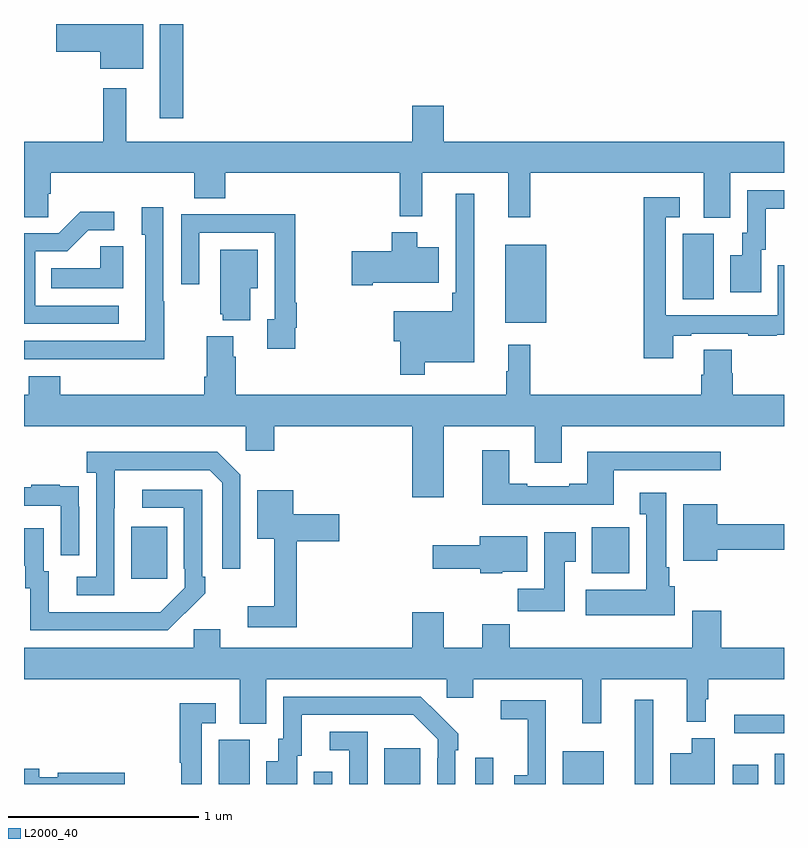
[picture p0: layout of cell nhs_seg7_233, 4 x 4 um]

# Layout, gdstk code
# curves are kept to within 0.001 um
import gdstk
lib = gdstk.Library(unit=1e-6, precision=1e-09)
def R(c, l, rs):  # rectangles x0, y0, x1, y1
    for r in rs: c.add(gdstk.rectangle(r[:2], r[2:], *l))
def P(c, l, *ps):  # polygons
    for p in ps: c.add(gdstk.Polygon(p, *l))
L2000_40 = (2000, 40)

nhs_seg7_233 = lib.new_cell('nhs_seg7_233')
R(nhs_seg7_233, L2000_40, [(128.024,1064,128.188,1064.232), (128.526,1064,128.622,1064.065), (128.897,1064,129.085,1064.188), (129.375,1064,129.471,1064.137), (129.836,1064,130.051,1064.173), (130.214,1064,130.311,1064.443), (130.73,1064,130.864,1064.101), (130.952,1064,131,1064.158), (130.737,1064.268,131,1064.364), (127.565,1065.081,127.753,1065.355), (129.989,1065.11,130.186,1065.352), (129.533,1066.427,129.748,1066.837), (130.466,1066.552,130.63,1066.896), (127.715,1067.505,127.837,1068)])
P(nhs_seg7_233, L2000_40, [(127.627,1068),(127.17,1068),(127.17,1067.854),(127.4,1067.854),(127.4,1067.765),(127.627,1067.765)],
  [(130.717,1067.216),(131,1067.216),(131,1067.38),(129.208,1067.38),(129.208,1067.569),(129.044,1067.569),(129.044,1067.38),(127.537,1067.38),(127.537,1067.662),(127.416,1067.662),(127.416,1067.38),(127,1067.38),(127,1066.984),(127.128,1066.984),(127.128,1067.107),(127.142,1067.107),(127.142,1067.216),(127.895,1067.216),(127.895,1067.083),(128.06,1067.083),(128.06,1067.216),(128.977,1067.216),(128.977,1066.988),(129.095,1066.988),(129.095,1067.216),(129.548,1067.216),(129.548,1066.983),(129.665,1066.983),(129.665,1067.216),(130.577,1067.216),(130.577,1066.981),(130.717,1066.981)],
  [(130.879,1066.812),(130.903,1066.812),(130.903,1067.028),(131,1067.028),(131,1067.124),(130.806,1067.124),(130.806,1066.902),(130.781,1066.902),(130.781,1066.783),(130.718,1066.783),(130.718,1066.587),(130.879,1066.587)],
  [(129.108,1066.22),(129.37,1066.22),(129.37,1067.107),(129.273,1067.107),(129.273,1066.585),(129.253,1066.585),(129.253,1066.489),(128.946,1066.489),(128.946,1066.331),(128.98,1066.331),(128.98,1066.155),(129.108,1066.155)],
  [(130.417,1066.359),(130.513,1066.359),(130.513,1066.371),(130.813,1066.371),(130.813,1066.359),(130.961,1066.359),(130.961,1066.365),(131,1066.365),(131,1066.729),(130.968,1066.729),(130.968,1066.467),(130.377,1066.467),(130.377,1066.983),(130.45,1066.983),(130.45,1067.089),(130.261,1067.089),(130.261,1066.242),(130.417,1066.242)],
  [(127.737,1066.541),(127.734,1066.541),(127.734,1067.035),(127.619,1067.035),(127.619,1066.89),(127.638,1066.89),(127.638,1066.332),(127,1066.332),(127,1066.236),(127.273,1066.236),(127.273,1066.235),(127.737,1066.235)],
  [(127.498,1066.518),(127.059,1066.518),(127.059,1066.803),(127.228,1066.803),(127.339,1066.914),(127.474,1066.914),(127.474,1067.012),(127.295,1067.012),(127.182,1066.899),(127,1066.899),(127,1066.422),(127.498,1066.422)],
  [(128.428,1066.402),(128.435,1066.402),(128.435,1066.534),(128.428,1066.534),(128.428,1067),(128.143,1067),(128.143,1066.998),(127.827,1066.998),(127.827,1066.629),(127.923,1066.629),(127.923,1066.902),(128.319,1066.902),(128.319,1066.446),(128.279,1066.446),(128.279,1066.29),(128.428,1066.29)],
  [(128.836,1066.637),(129.184,1066.637),(129.184,1066.825),(129.07,1066.825),(129.07,1066.903),(128.936,1066.903),(128.936,1066.803),(128.724,1066.803),(128.724,1066.625),(128.836,1066.625)],
  [(127.522,1066.829),(127.401,1066.829),(127.401,1066.714),(127.144,1066.714),(127.144,1066.61),(127.522,1066.61)],
  [(128.191,1066.61),(128.23,1066.61),(128.23,1066.813),(128.033,1066.813),(128.033,1066.473),(128.045,1066.473),(128.045,1066.442),(128.191,1066.442)],
  [(129.689,1065.69),(129.829,1065.69),(129.829,1065.884),(131,1065.884),(131,1066.048),(130.73,1066.048),(130.73,1066.161),(130.725,1066.161),(130.725,1066.286),(130.577,1066.286),(130.577,1066.154),(130.565,1066.154),(130.565,1066.048),(129.665,1066.048),(129.665,1066.312),(129.548,1066.312),(129.548,1066.172),(129.537,1066.172),(129.537,1066.048),(128.114,1066.048),(128.114,1066.25),(128.101,1066.25),(128.101,1066.357),(127.961,1066.357),(127.961,1066.144),(127.949,1066.144),(127.949,1066.048),(127.19,1066.048),(127.19,1066.147),(127.025,1066.147),(127.025,1066.048),(127,1066.048),(127,1065.884),(128.166,1065.884),(128.166,1065.753),(128.318,1065.753),(128.318,1065.884),(129.044,1065.884),(129.044,1065.51),(129.208,1065.51),(129.208,1065.884),(129.689,1065.884)],
  [(130.105,1065.651),(130.666,1065.651),(130.666,1065.748),(129.965,1065.748),(129.965,1065.58),(129.869,1065.58),(129.869,1065.567),(129.649,1065.567),(129.649,1065.58),(129.553,1065.58),(129.553,1065.757),(129.413,1065.757),(129.413,1065.47),(130.105,1065.47)],
  [(127.476,1065.451),(127.477,1065.651),(127.977,1065.651),(128.043,1065.585),(128.043,1065.132),(128.139,1065.132),(128.139,1065.627),(128.018,1065.748),(127.329,1065.748),(127.329,1065.638),(127.38,1065.638),(127.38,1065.09),(127.278,1065.09),(127.278,1064.994),(127.476,1064.994)],
  [(127.29,1065.458),(127.289,1065.458),(127.289,1065.567),(127.187,1065.567),(127.187,1065.574),(127.039,1065.574),(127.039,1065.561),(127,1065.561),(127,1065.465),(127.194,1065.465),(127.194,1065.204),(127.29,1065.204)],
  [(127.847,1064.899),(127.848,1064.898),(127.953,1065.003),(127.953,1065.091),(127.938,1065.091),(127.938,1065.549),(127.623,1065.549),(127.623,1065.453),(127.842,1065.453),(127.842,1065.133),(127.845,1065.133),(127.845,1065.033),(127.717,1064.905),(127.129,1064.904),(127.129,1065.12),(127.105,1065.12),(127.105,1065.346),(127,1065.346),(127,1065.149),(127.007,1065.149),(127.007,1065.03),(127.032,1065.03),(127.032,1064.808),(127.756,1064.808)],
  [(128.435,1065.278),(128.659,1065.278),(128.659,1065.42),(128.416,1065.42),(128.416,1065.547),(128.228,1065.547),(128.228,1065.29),(128.318,1065.29),(128.318,1064.935),(128.178,1064.935),(128.178,1064.826),(128.435,1064.826)],
  [(130.426,1065.042),(130.396,1065.042),(130.396,1065.142),(130.381,1065.142),(130.381,1065.532),(130.241,1065.532),(130.241,1065.419),(130.274,1065.419),(130.274,1065.022),(129.957,1065.022),(129.957,1064.888),(130.426,1064.888)],
  [(130.648,1065.232),(131,1065.232),(131,1065.368),(130.648,1065.368),(130.648,1065.472),(130.469,1065.472),(130.469,1065.176),(130.648,1065.176)],
  [(129.847,1065.169),(129.904,1065.169),(129.904,1065.325),(129.737,1065.325),(129.737,1065.028),(129.598,1065.028),(129.598,1064.91),(129.847,1064.91)],
  [(129.516,1065.116),(129.649,1065.116),(129.649,1065.304),(129.398,1065.304),(129.398,1065.256),(129.15,1065.256),(129.15,1065.134),(129.402,1065.134),(129.402,1065.11),(129.516,1065.11)],
  [(128.275,1064.552),(129.225,1064.552),(129.225,1064.454),(129.364,1064.454),(129.364,1064.552),(129.938,1064.552),(129.938,1064.319),(130.037,1064.319),(130.037,1064.552),(130.489,1064.552),(130.489,1064.327),(130.588,1064.327),(130.588,1064.445),(130.6,1064.445),(130.6,1064.552),(131,1064.552),(131,1064.716),(130.67,1064.716),(130.67,1064.911),(130.517,1064.911),(130.517,1064.716),(129.557,1064.716),(129.557,1064.84),(129.413,1064.84),(129.413,1064.716),(129.208,1064.716),(129.208,1064.905),(129.044,1064.905),(129.044,1064.716),(128.032,1064.716),(128.032,1064.814),(127.893,1064.814),(127.893,1064.716),(127,1064.716),(127,1064.552),(128.135,1064.552),(128.135,1064.317),(128.275,1064.317)],
  [(128.437,1064.148),(128.461,1064.148),(128.461,1064.364),(129.049,1064.364),(129.177,1064.235),(129.177,1064.135),(129.174,1064.135),(129.174,1064),(129.27,1064),(129.27,1064.177),(129.285,1064.177),(129.285,1064.265),(129.088,1064.46),(128.364,1064.46),(128.364,1064.238),(128.339,1064.238),(128.339,1064.119),(128.276,1064.119),(128.276,1064),(128.437,1064)],
  [(129.747,1064.442),(129.51,1064.442),(129.51,1064.341),(129.65,1064.341),(129.65,1064.047),(129.581,1064.047),(129.581,1064),(129.747,1064)],
  [(127.935,1064.319),(128.008,1064.319),(128.008,1064.425),(127.819,1064.425),(127.819,1064.112),(127.827,1064.112),(127.827,1064),(127.935,1064)],
  [(128.808,1064.274),(128.61,1064.274),(128.61,1064.178),(128.712,1064.178),(128.712,1064),(128.808,1064)],
  [(130.636,1064.242),(130.514,1064.242),(130.514,1064.161),(130.4,1064.161),(130.4,1064),(130.636,1064)],
  [(127.531,1064.06),(127.178,1064.06),(127.178,1064.036),(127.081,1064.036),(127.081,1064.08),(127,1064.08),(127,1064),(127.531,1064)])

lib.write_gds('nhs_seg7_233.gds')
